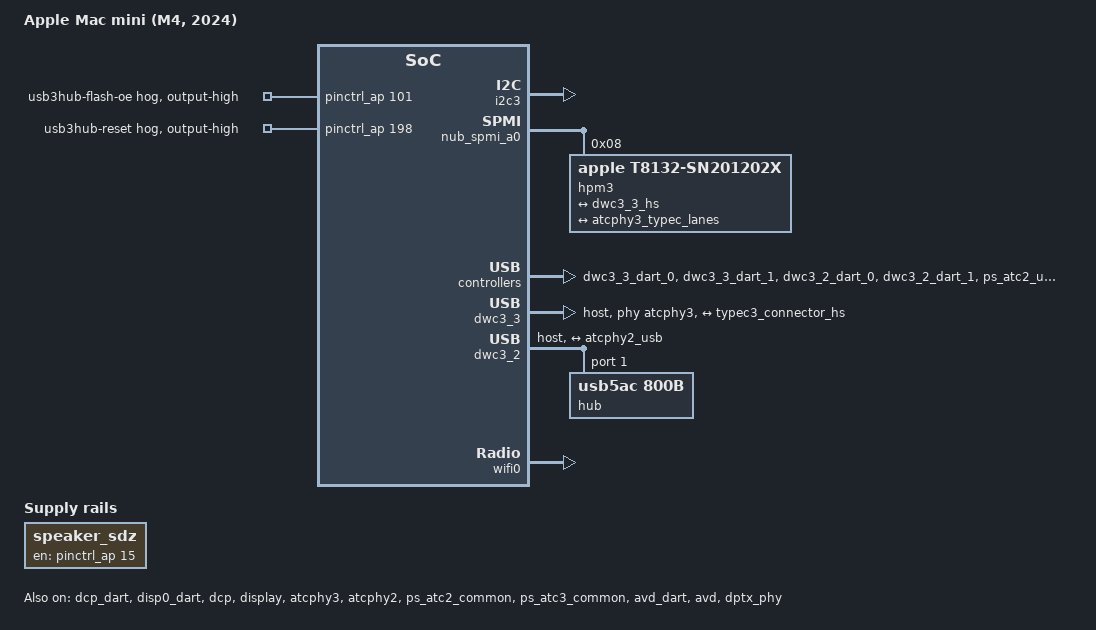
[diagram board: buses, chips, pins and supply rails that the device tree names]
// SPDX-License-Identifier: GPL-2.0+ OR MIT
/*
 * Apple Mac mini (M4, 2024)
 *
 * target-type: J773g
 *
 * Wired from the J773g ADT (macOS 26.6.2).
 *
 * Copyright The Asahi Linux Contributors
 */

/dts-v1/;

#include "t8132.dtsi"
#include "t8132-desktop.dtsi"
#include "t8132-atc23.dtsi"
#include <dt-bindings/gpio/gpio.h>
#include <dt-bindings/spmi/spmi.h>

/ {
	compatible = "apple,j773g", "apple,t8132", "apple,arm-platform";
	model = "Apple Mac mini (M4, 2024)";
	chassis-type = "desktop";

	/*
	 * The speaker amp's shutdown line (SDZ, AP GPIO 15, the ADT
	 * function-reset; low = shutdown).
	 */
	speaker_sdz: regulator-sn012776-sdz {
		compatible = "regulator-fixed";
		regulator-name = "sn012776-sdz";
		gpios = <&pinctrl_ap 15 GPIO_ACTIVE_HIGH>;
		enable-active-high;
	};
};

&soc {
	dptx_phy: phy@39a700000 {
		compatible = "apple,t8122-dptx-phy", "apple,dptx-phy";
		reg = <0x3 0x9a700000 0x0 0x4000>,
		      <0x3 0x9a740000 0x0 0x10000>;
		reg-names = "core", "dptx";
		power-domains = <&ps_dptx_phy>;
		#phy-cells = <0>;
		status = "okay";
	};
};

&dcp_mbox {
	/* iBoot leaves DISP_CPU in auto mode; Linux must not switch it. */
	/delete-property/ power-domains;
	status = "okay";
};

&dcp_dart {
	status = "okay";
};

&disp0_dart {
	status = "okay";
};

&dcp {
	/* iBoot leaves DISP_CPU in auto mode; Linux must not switch it. */
	/delete-property/ power-domains;
	apple,connector-type = "HDMI-A";
	apple,dptx-phy = <4>;
	phys = <&dptx_phy>;
	phy-names = "dp-phy";
	hdmi-pwren-gpios = <&smc_gpio 15 GPIO_ACTIVE_HIGH>;
	dp2hdmi-pwren-gpios = <&smc_gpio 26 GPIO_ACTIVE_HIGH>;
	status = "okay";
};

&disp0_piodma {
	status = "okay";
};

&display {
	status = "okay";
};

/*
 * Without this, the PMP firmware faults in the PMC block (0x382800000)
 * shortly after it starts on this board. J713 keeps ps_pmc out of Linux
 * in its PMGR policy; this board has none yet.
 */
&ps_pmc {
	apple,always-on;
};

/*
 * The AOP audio component always runs a microphone stream, and this Mac
 * has no microphones (ADT iop-audio-controller has no audio-hp) and no
 * speaker sense, so it has no sound card yet. The AOP registers its audio
 * service by itself: without the node, no driver binds it.
 */
/delete-node/ &aop_audio;

/*
 * The SN012776 speaker amp (ADT /arm-io/i2c3/audio-speaker at 0x38, mono,
 * speaker-protection 0): interrupt on AP GPIO 14, level low. Disabled
 * until the speaker has a sound card and a protection profile.
 */
&i2c3 {
	status = "okay";

	speaker: codec@38 {
		compatible = "ti,sn012776", "ti,tas2764";
		reg = <0x38>;
		SDZ-supply = <&speaker_sdz>;
		apple,sdz-group-fail-closed;
		apple,deferred-shutdown;
		#sound-dai-cells = <0>;
		sound-name-prefix = "Speaker";
		interrupts-extended = <&pinctrl_ap 14 IRQ_TYPE_LEVEL_LOW>;
		ti,imon-slot-no = <0>;
		ti,vmon-slot-no = <2>;
		status = "disabled";
	};
};

&typec0 {
	label = "USB-C Back Middle";
};

&typec1 {
	label = "USB-C Back Left";
};

/* ATC3's port controller (ADT nub-spmi-a0 hpm3). */
&nub_spmi_a0 {
	hpm3: usb-pd@8 {
		compatible = "apple,t8132-sn201202x", "apple,sn201202x";
		reg = <0x8 SPMI_USID>;
		interrupts = <63 IRQ_TYPE_EDGE_RISING>,
			     <69 IRQ_TYPE_EDGE_RISING>,
			     <71 IRQ_TYPE_EDGE_RISING>;
		interrupt-names = "irq", "sleep", "wake";
		wakeup-source;

		typec3: connector {
			compatible = "usb-c-connector";
			label = "USB-C Back Right";
			power-role = "dual";
			data-role = "dual";

			ports {
				#address-cells = <1>;
				#size-cells = <0>;

				port@0 {
					reg = <0>;
					typec3_connector_hs: endpoint {
						remote-endpoint = <&dwc3_3_hs>;
					};
				};

				port@1 {
					reg = <1>;
					typec3_connector_ss: endpoint {
						remote-endpoint = <&atcphy3_typec_lanes>;
					};
				};
			};
		};
	};
};

&atcphy3 {
	status = "okay";

	ports {
		#address-cells = <1>;
		#size-cells = <0>;

		port@0 {
			reg = <0>;
			atcphy3_typec_lanes: endpoint {
				remote-endpoint = <&typec3_connector_ss>;
			};
		};
	};
};

&dwc3_3_dart_0 {
	status = "okay";
};

&dwc3_3_dart_1 {
	status = "okay";
};

&dwc3_3 {
	dr_mode = "host";
	maximum-speed = "super-speed";
	phys = <&atcphy3 PHY_TYPE_USB2>, <&atcphy3 PHY_TYPE_USB3>;
	phy-names = "usb2-phy", "usb3-phy";
	status = "okay";

	ports {
		#address-cells = <1>;
		#size-cells = <0>;

		port@0 {
			reg = <0>;
			dwc3_3_hs: endpoint {
				remote-endpoint = <&typec3_connector_hs>;
			};
		};
	};
};

/*
 * The two front USB-C ports: an on-board USB2 hub (Apple 05ac:800b, firmware
 * on spi3) on raw USB2 root port 1 of ATC2's controller (ADT usb-drd2), with
 * no port controller. The PHY only enters USB3 mode from a Type-C mode
 * switch, so the hub runs at high speed. The hub child tells dwc3-apple the
 * controller is a host from probe on; the graph link from the PHY's USB3 port
 * to the controller's SuperSpeed port is how the PHY finds that fixed hub
 * and keeps its USB2 path up without a cable event (no SuperSpeed data path
 * is described). The hub's reset and SPI-flash output-enable lines (ADT
 * usb3hub_rst, usb3hub_flash_oe) are AP GPIOs; the boot loader leaves both
 * high, as does macOS, and the hub runs with them high.
 */
&atcphy2 {
	status = "okay";

	ports {
		#address-cells = <1>;
		#size-cells = <0>;

		port@1 {
			reg = <1>;
			atcphy2_usb: endpoint {
				remote-endpoint = <&dwc3_2_ss>;
			};
		};
	};
};

&dwc3_2_dart_0 {
	status = "okay";
};

&dwc3_2_dart_1 {
	status = "okay";
};

&dwc3_2 {
	dr_mode = "host";
	#address-cells = <1>;
	#size-cells = <0>;
	status = "okay";

	hub@1 {
		compatible = "usb5ac,800b";
		reg = <1>;
	};

	ports {
		#address-cells = <1>;
		#size-cells = <0>;

		/* Raw xHCI port 1 is USB2; raw port 2 is SuperSpeed. */
		port@2 {
			reg = <2>;
			dwc3_2_ss: endpoint {
				remote-endpoint = <&atcphy2_usb>;
			};
		};
	};
};

&pinctrl_ap {
	usb3hub-flash-oe-hog {
		gpio-hog;
		gpios = <101 GPIO_ACTIVE_HIGH>;
		output-high;
		line-name = "usb3hub-flash-oe";
	};

	usb3hub-reset-hog {
		gpio-hog;
		gpios = <198 GPIO_ACTIVE_HIGH>;
		output-high;
		line-name = "usb3hub-reset";
	};
};

&wifi0 {
	/* ADT /arm-io/wlan module-instance */
	brcm,board-type = "apple,sakhalin";
};

&bluetooth0 {
	brcm,board-type = "apple,sakhalin";
};

#include "hwmon-common.dtsi"
#include "hwmon-mini.dtsi"

/*
 * The PMGR domains of the USB-C ports this board wires beyond ATC0/ATC1, as
 * the M4 firmware path's policy enables ATC0/ATC1's.
 */
&ps_atc2_common {
	status = "okay";
};

&ps_atc2_usb_aon {
	status = "okay";
};

&ps_atc2_usb {
	status = "okay";
};

&ps_atc3_common {
	status = "okay";
};

&ps_atc3_usb_aon {
	status = "okay";
};

&ps_atc3_usb {
	status = "okay";
};

&avd_dart {
	status = "okay";
};

&avd {
	status = "okay";
};
